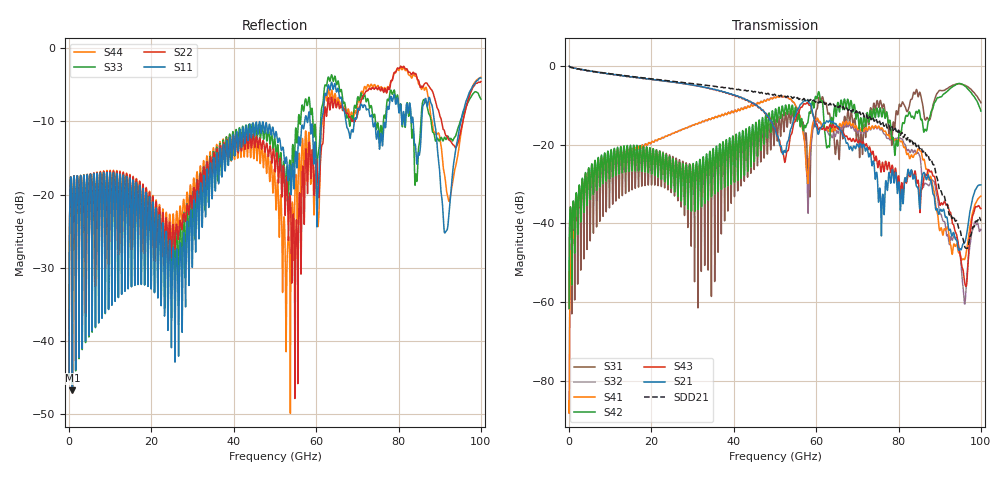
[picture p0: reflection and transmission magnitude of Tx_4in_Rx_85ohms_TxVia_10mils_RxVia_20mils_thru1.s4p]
! Info: Touchstone file created by Circ.  Input file=Tx_4in_Rx_85ohms_TxVia_10mils_RxVia_20mils.circ
# Hz S RI R 50
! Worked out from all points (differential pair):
!   10000 points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, 10 MHz to 100 GHz, reference 50 ohm
!   strongest paths, dB at 10 MHz, 25.01 GHz, 50.01 GHz, 75.01 GHz, 100 GHz:
!     S21: 0.0, -4.0, -15.9, -31.8, -30.2
!     S43: 0.0, -4.1, -16.2, -25.8, -36.2
!     S42: -61.6, -25.8, -11.8, -12.2, -11.5
!     S41: -85.3, -17.1, -8.1, -15.4, -33.1
!     S32: -85.3, -17.2, -8.0, -15.6, -41.6
!     S31: -61.6, -25.1, -14.9, -9.6, -9.3
!   taken as a pair (ports 1,3 in; 2,4 out), SDD21 dB: 0.0, -3.9, -7.3, -14.3, -39.3
!   lowest |S11| = -46.7 dB at 800 MHz (marker M1), VSWR 1.01, Z = 49.6 - j0.148 ohm
!   |S11| at or under -10 dB: start of sweep to 57.21 GHz; 73.7 GHz to 76.99 GHz (3.29 GHz wide, 4.37 % of centre); 88.7 GHz to 95.17 GHz (6.468 GHz wide, 7.04 % of centre) (the widest 3 of 10)
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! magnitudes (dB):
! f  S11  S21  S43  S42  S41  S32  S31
! 10 MHz  -44.8  0.0  0.0  -61.6  -85.3  -85.3  -61.6
! 800 MHz  -46.7  -0.4  -0.4  -39.3  -45.2  -45.2  -39.4
! 51.7 GHz  -13.8  -21.5  -21.9  -10.3  -7.9  -7.8  -12.6
! 57.95 GHz  -10.1  -8.8  -9.4  -14.4  -29.6  -34.6  -27.8
! 84.72 GHz  -14.6  -31.0  -29.0  -11.8  -21.1  -22.0  -7.7
! 96.24 GHz  -7.5  -44.4  -55.8  -5.2  -48.6  -59.3  -4.9
! 100 GHz  -4.1  -30.2  -36.2  -11.5  -33.1  -41.6  -9.3
